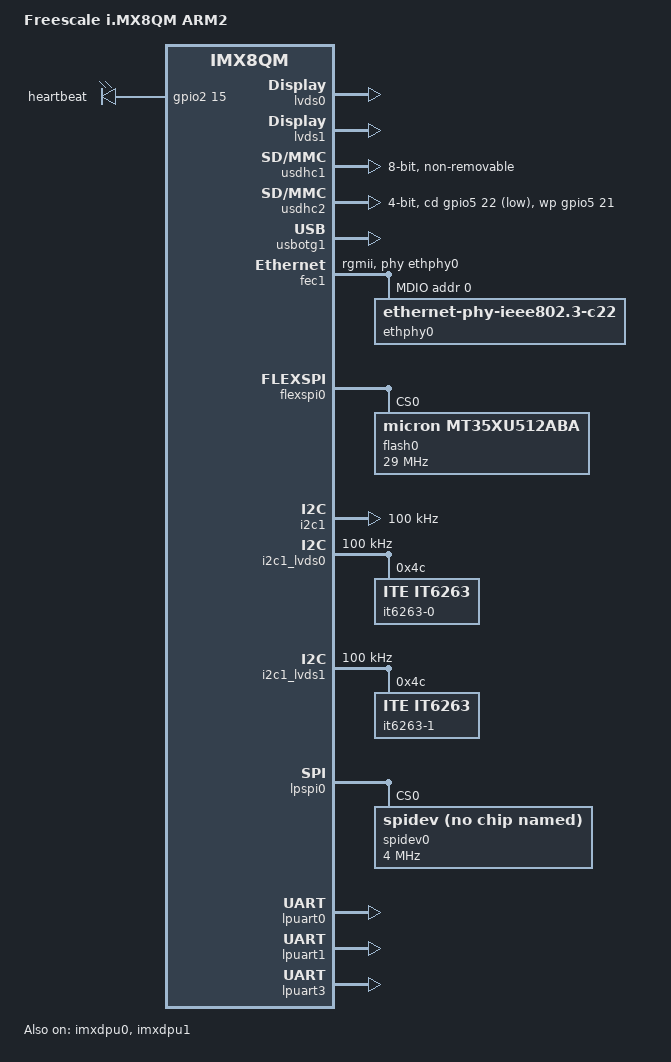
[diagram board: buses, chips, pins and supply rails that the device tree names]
/*
 * Copyright (C) 2016 Freescale Semiconductor, Inc.
 * Copyright 2017 NXP
 *
 * This program is free software; you can redistribute it and/or
 * modify it under the terms of the GNU General Public License
 * as published by the Free Software Foundation; either version 2
 * of the License, or (at your option) any later version.
 *
 * This program is distributed in the hope that it will be useful,
 * but WITHOUT ANY WARRANTY; without even the implied warranty of
 * MERCHANTABILITY or FITNESS FOR A PARTICULAR PURPOSE.  See the
 * GNU General Public License for more details.
 */

/dts-v1/;

/* First 128KB is for PSCI ATF. */
/* Last 127M is for M4/RPMSG */
/memreserve/ 0x80000000 0x08000000;

#include "fsl-imx8qm.dtsi"

/ {
	model = "Freescale i.MX8QM ARM2";
	compatible = "fsl,imx8qm-arm2", "fsl,imx8qm";

	chosen {
		bootargs = "console=ttyLP0,115200 earlycon=lpuart32,0x5a060000,115200";
		stdout-path = &lpuart0;
	};

	leds {
		compatible = "gpio-leds";
		pinctrl-names = "default";
		pinctrl-0 = <&pinctrl_gpio_leds>;
		user {
			label = "heartbeat";
			gpios = <&gpio2 15 0>;
			default-state = "on";
			linux,default-trigger = "heartbeat";
		};
	};
};

&iomuxc {
	imx8qm-arm2 {
		pinctrl_fec1: fec1grp {
			fsl,pins = <
				SC_P_ENET0_MDC_CONN_ENET0_MDC			0x06000048
				SC_P_ENET0_MDIO_CONN_ENET0_MDIO			0x06000048
				SC_P_ENET0_RGMII_TX_CTL_CONN_ENET0_RGMII_TX_CTL	0x06000048
				SC_P_ENET0_RGMII_TXC_CONN_ENET0_RGMII_TXC	0x06000048
				SC_P_ENET0_RGMII_TXD0_CONN_ENET0_RGMII_TXD0	0x06000048
				SC_P_ENET0_RGMII_TXD1_CONN_ENET0_RGMII_TXD1	0x06000048
				SC_P_ENET0_RGMII_TXD2_CONN_ENET0_RGMII_TXD2	0x06000048
				SC_P_ENET0_RGMII_TXD3_CONN_ENET0_RGMII_TXD3	0x06000048
				SC_P_ENET0_RGMII_RXC_CONN_ENET0_RGMII_RXC	0x06000048
				SC_P_ENET0_RGMII_RX_CTL_CONN_ENET0_RGMII_RX_CTL	0x06000048
				SC_P_ENET0_RGMII_RXD0_CONN_ENET0_RGMII_RXD0	0x06000048
				SC_P_ENET0_RGMII_RXD1_CONN_ENET0_RGMII_RXD1	0x06000048
				SC_P_ENET0_RGMII_RXD2_CONN_ENET0_RGMII_RXD2	0x06000048
				SC_P_ENET0_RGMII_RXD3_CONN_ENET0_RGMII_RXD3	0x06000048
			>;
		};

		pinctrl_fec2: fec2grp {
			fsl,pins = <
				SC_P_ENET1_MDC_CONN_ENET1_MDC			0x06000048
				SC_P_ENET1_MDIO_CONN_ENET1_MDIO			0x06000048
				SC_P_ENET1_RGMII_TX_CTL_CONN_ENET1_RGMII_TX_CTL	0x06000048
				SC_P_ENET1_RGMII_TXC_CONN_ENET1_RGMII_TXC	0x06000048
				SC_P_ENET1_RGMII_TXD0_CONN_ENET1_RGMII_TXD0	0x06000048
				SC_P_ENET1_RGMII_TXD1_CONN_ENET1_RGMII_TXD1	0x06000048
				SC_P_ENET1_RGMII_TXD2_CONN_ENET1_RGMII_TXD2	0x06000048
				SC_P_ENET1_RGMII_TXD3_CONN_ENET1_RGMII_TXD3	0x06000048
				SC_P_ENET1_RGMII_RXC_CONN_ENET1_RGMII_RXC	0x06000048
				SC_P_ENET1_RGMII_RX_CTL_CONN_ENET1_RGMII_RX_CTL	0x06000048
				SC_P_ENET1_RGMII_RXD0_CONN_ENET1_RGMII_RXD0	0x06000048
				SC_P_ENET1_RGMII_RXD1_CONN_ENET1_RGMII_RXD1	0x06000048
				SC_P_ENET1_RGMII_RXD2_CONN_ENET1_RGMII_RXD2	0x06000048
				SC_P_ENET1_RGMII_RXD3_CONN_ENET1_RGMII_RXD3	0x06000048
			>;
		};

		pinctrl_lpuart0: lpuart0grp {
			fsl,pins = <
				SC_P_UART0_RX_DMA_UART0_RX		0x0600004c
				SC_P_UART0_TX_DMA_UART0_TX		0x0600004c
				SC_P_UART0_RTS_B_DMA_UART0_RTS_B	0x0600004c
				SC_P_UART0_CTS_B_DMA_UART0_CTS_B	0x0600004c
			>;
		};

		pinctrl_lpuart1: lpuart1grp {
			fsl,pins = <
				SC_P_UART1_RX_DMA_UART1_RX		0x0600004c
				SC_P_UART1_TX_DMA_UART1_TX		0x0600004c
				SC_P_UART1_CTS_B_DMA_UART1_CTS_B	0x0600004c
				SC_P_UART1_RTS_B_DMA_UART1_RTS_B	0x0600004c
			>;
		};

		pinctrl_lpuart3: lpuart3grp {
			fsl,pins = <
				SC_P_M41_GPIO0_00_DMA_UART3_RX		0x0600004c
				SC_P_M41_GPIO0_01_DMA_UART3_TX		0x0600004c
			>;
		};

		pinctrl_usdhc1: usdhc1grp {
			fsl,pins = <
				SC_P_EMMC0_CLK_CONN_EMMC0_CLK		0x06000021
				SC_P_EMMC0_CMD_CONN_EMMC0_CMD		0x00000021
				SC_P_EMMC0_DATA0_CONN_EMMC0_DATA0	0x00000021
				SC_P_EMMC0_DATA1_CONN_EMMC0_DATA1	0x00000021
				SC_P_EMMC0_DATA2_CONN_EMMC0_DATA2	0x00000021
				SC_P_EMMC0_DATA3_CONN_EMMC0_DATA3	0x00000021
				SC_P_EMMC0_DATA4_CONN_EMMC0_DATA4	0x00000021
				SC_P_EMMC0_DATA5_CONN_EMMC0_DATA5	0x00000021
				SC_P_EMMC0_DATA6_CONN_EMMC0_DATA6	0x00000021
				SC_P_EMMC0_DATA7_CONN_EMMC0_DATA7	0x00000021
				SC_P_EMMC0_RESET_B_CONN_EMMC0_RESET_B	0x00000021
			>;
		};

		pinctrl_usdhc2: usdhc2grp {
			fsl,pins = <
				SC_P_USDHC1_CLK_CONN_USDHC1_CLK		0x06000021
				SC_P_USDHC1_CMD_CONN_USDHC1_CMD		0x00000021
				SC_P_USDHC1_DATA0_CONN_USDHC1_DATA0	0x00000021
				SC_P_USDHC1_DATA1_CONN_USDHC1_DATA1	0x00000021
				SC_P_USDHC1_DATA2_CONN_USDHC1_DATA2	0x00000021
				SC_P_USDHC1_DATA3_CONN_USDHC1_DATA3	0x00000021
				SC_P_USDHC1_DATA6_LSIO_GPIO5_IO21	0x00000021
				SC_P_USDHC1_DATA7_LSIO_GPIO5_IO22	0x00000021
			>;
		};

		pinctrl_lpspi0: lpspi0grp {
			fsl,pins = <
				SC_P_SPI0_SCK_DMA_SPI0_SCK		0x0600004c
				SC_P_SPI0_SDO_DMA_SPI0_SDO		0x0600004c
				SC_P_SPI0_SDI_DMA_SPI0_SDI		0x0600004c
				SC_P_SPI0_CS0_DMA_SPI0_CS0		0x0600004c
				SC_P_SPI0_CS1_DMA_SPI0_CS1		0x0600004c
			>;
		};

		pinctrl_flexspi0: flexspi0grp {
			fsl,pins = <
				SC_P_QSPI0A_DATA0_LSIO_QSPI0A_DATA0	0x0600004c
				SC_P_QSPI0A_DATA1_LSIO_QSPI0A_DATA1	0x0600004c
				SC_P_QSPI0A_DATA2_LSIO_QSPI0A_DATA2	0x0600004c
				SC_P_QSPI0A_DATA3_LSIO_QSPI0A_DATA3	0x0600004c
				SC_P_QSPI0A_DQS_LSIO_QSPI0A_DQS		0x0600004c
				SC_P_QSPI0A_SS0_B_LSIO_QSPI0A_SS0_B	0x0600004c
				SC_P_QSPI0A_SS1_B_LSIO_QSPI0A_SS1_B	0x0600004c
				SC_P_QSPI0A_SCLK_LSIO_QSPI0A_SCLK	0x0600004c
				SC_P_QSPI0B_SCLK_LSIO_QSPI0B_SCLK	0x0600004c
				SC_P_QSPI0B_DATA0_LSIO_QSPI0B_DATA0	0x0600004c
				SC_P_QSPI0B_DATA1_LSIO_QSPI0B_DATA1	0x0600004c
				SC_P_QSPI0B_DATA2_LSIO_QSPI0B_DATA2	0x0600004c
				SC_P_QSPI0B_DATA3_LSIO_QSPI0B_DATA3	0x0600004c
				SC_P_QSPI0B_DQS_LSIO_QSPI0B_DQS		0x0600004c
				SC_P_QSPI0B_SS0_B_LSIO_QSPI0B_SS0_B	0x0600004c
				SC_P_QSPI0B_SS1_B_LSIO_QSPI0B_SS1_B	0x0600004c
			>;
		};

		pinctrl_gpio_leds: gpioledsgrp {
			fsl,pins = <
				SC_P_SPDIF0_TX_LSIO_GPIO2_IO15		0x00000021
			>;
		};
	};
};

&gpio2 {
	status = "okay";
};

&gpio5 {
	status = "okay";
};

&framebuffer1 {
	status = "okay";
};

&framebuffer3 {
	status = "okay";
};

&imxdpu0 {
	status = "okay";
};

&imxdpu1 {
	status = "okay";
};

&lvds0 {
	status = "okay";
};

&lvds1 {
	status = "okay";
};

&usdhc1 {
	pinctrl-names = "default";
	pinctrl-0 = <&pinctrl_usdhc1>;
	bus-width = <8>;
	non-removable;
	status = "okay";
};

&usdhc2 {
	pinctrl-names = "default";
	pinctrl-0 = <&pinctrl_usdhc2>;
	bus-width = <4>;
	cd-gpios = <&gpio5 22 GPIO_ACTIVE_LOW>;
	wp-gpios = <&gpio5 21 GPIO_ACTIVE_HIGH>;
	status = "okay";
};

&usbotg1 {
	srp-disable;
	hnp-disable;
	adp-disable;
	power-polarity-active-high;
	disable-over-current;
	status = "okay";
};

&fec1 {
	pinctrl-names = "default";
	pinctrl-0 = <&pinctrl_fec1>;
	phy-mode = "rgmii";
	phy-handle = <&ethphy0>;
	fsl,ar8031-phy-fixup;
	fsl,magic-packet;
	status = "okay";

	mdio {
		#address-cells = <1>;
		#size-cells = <0>;

		ethphy0: ethernet-phy@0 {
			compatible = "ethernet-phy-ieee802.3-c22";
			reg = <0>;
		};

		ethphy1: ethernet-phy@1 {
			compatible = "ethernet-phy-ieee802.3-c22";
			reg = <1>;
			status = "disabled";
		};
	};
};

&fec2 {
	pinctrl-names = "default";
	pinctrl-0 = <&pinctrl_fec2>;
	phy-mode = "rgmii";
	phy-handle = <&ethphy1>;
	fsl,ar8031-phy-fixup;
	fsl,magic-packet;
	status = "disabled";
};

&flexspi0 {
	pinctrl-names = "default";
	pinctrl-0 = <&pinctrl_flexspi0>;
	status = "okay";

	flash0: mt35xu512aba@0 {
		reg = <0>;
		#address-cells = <1>;
		#size-cells = <1>;
		compatible = "micron,mt35xu512aba";
		spi-max-frequency = <29000000>;
		spi-nor,ddr-quad-read-dummy = <8>;
	};
};

&i2c1 {
	clock-frequency = <100000>;
	pinctrl-names = "default";
	status = "okay";
};

&i2c1_lvds0 {
	#address-cells = <1>;
	#size-cells = <0>;
	pinctrl-names = "default";
	clock-frequency = <100000>;
	status = "okay";

	it6263-0@4c {
		compatible = "ITE,it6263";
		reg = <0x4c>;
	};
};

&i2c1_lvds1 {
	#address-cells = <1>;
	#size-cells = <0>;
	pinctrl-names = "default";
	clock-frequency = <100000>;
	status = "okay";

	it6263-1@4c {
		compatible = "ITE,it6263";
		reg = <0x4c>;
	};
};

&lpspi0 {
	#address-cells = <1>;
	#size-cells = <0>;
	pinctrl-names = "default";
	pinctrl-0 = <&pinctrl_lpspi0>;
	status = "okay";

	spidev0: spi@0 {
		reg = <0>;
		compatible = "rohm,dh2228fv";
		spi-max-frequency = <4000000>;
	};
};

&lpuart0 { /* console */
	pinctrl-names = "default";
	pinctrl-0 = <&pinctrl_lpuart0>;
	status = "okay";
};

&lpuart1 { /* BT */
	pinctrl-names = "default";
	pinctrl-0 = <&pinctrl_lpuart1>;
	status = "okay";
};

&lpuart3 { /* GPS */
	pinctrl-names = "default";
	pinctrl-0 = <&pinctrl_lpuart3>;
	status = "okay";
};

&A53_0 {
	operating-points = <
		/* kHz    uV */
		1296000 1150000
	>;
	clocks = <&clk IMX8QM_A53_DIV>;
};

&A72_0 {
	operating-points = <
		/* kHz    uV */
		1800000 1150000
	>;
	clocks = <&clk IMX8QM_A72_DIV>;
};
